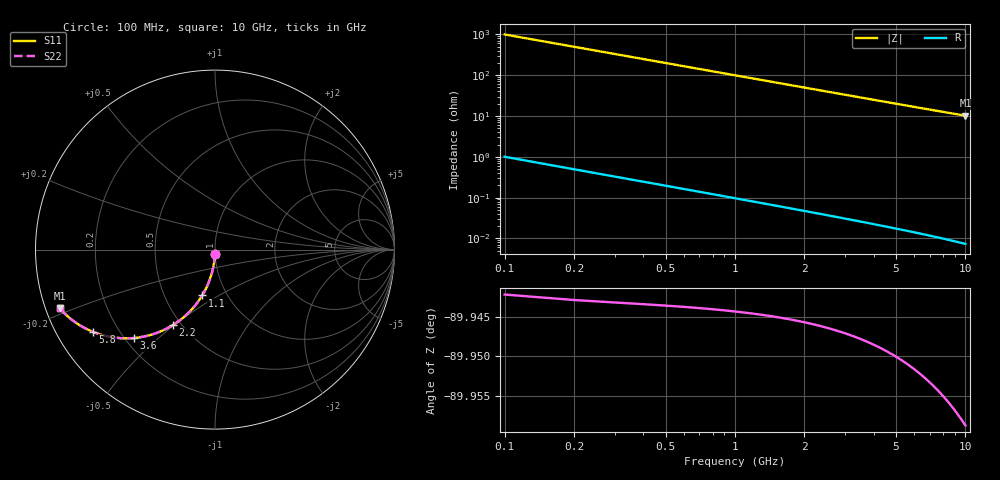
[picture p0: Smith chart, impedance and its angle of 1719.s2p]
# Hz S RI R 50.00
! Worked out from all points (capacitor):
!   100 points, 100 MHz to 10 GHz, reference 50 ohm
!   read as one part in shunt: C = 1.6 pF near 100 MHz
!   lowest |Z| = 10.2 ohm at 10 GHz (marker M1)
!   S11 on the Smith chart (normalised r, x): 100 MHz: 1.00, -0.05; 1.1 GHz: 0.77, -0.42; 2.2 GHz: 0.45, -0.49; 3.6 GHz: 0.24, -0.42; 5.8 GHz: 0.11, -0.30; 10 GHz: 0.04, -0.18
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1e8  -0.000536 -0.025  0.9992 -0.0253  0.9992 -0.0253  -0.000536 -0.025
2e8  -0.00245 -0.0499  0.9973 -0.0505  0.9973 -0.0505  -0.00245 -0.0499
3e8  -0.00562 -0.0747  0.9941 -0.0754  0.9941 -0.0754  -0.00562 -0.0747
4e8  -0.01 -0.0991  0.9897 -0.1001  0.9897 -0.1001  -0.01 -0.0991
5e8  -0.0156 -0.1232  0.9842 -0.1245  0.9842 -0.1245  -0.0156 -0.1232
6e8  -0.0223 -0.1468  0.9774 -0.1483  0.9774 -0.1483  -0.0223 -0.1468
7e8  -0.0301 -0.1699  0.9696 -0.1717  0.9696 -0.1717  -0.0301 -0.1699
9e8  -0.0488 -0.2141  0.9509 -0.2165  0.9509 -0.2165  -0.0488 -0.2141
1.1e9  -0.0713 -0.2555  0.9285 -0.2584  0.9285 -0.2584  -0.0713 -0.2555
1.4e9  -0.1105 -0.3114  0.8892 -0.315  0.8892 -0.315  -0.1105 -0.3114
1.8e9  -0.1704 -0.3732  0.8293 -0.3779  0.8293 -0.3779  -0.1704 -0.3732
2.2e9  -0.2348 -0.4206  0.765 -0.4263  0.765 -0.4263  -0.2348 -0.4206
2.8e9  -0.332 -0.4668  0.6677 -0.4741  0.6677 -0.4741  -0.332 -0.4668
3.4e9  -0.423 -0.4891  0.5767 -0.498  0.5767 -0.498  -0.423 -0.4891
3.6e9  -0.4511 -0.4924  0.5486 -0.5018  0.5486 -0.5018  -0.4511 -0.4924
4.3e9  -0.5398 -0.4923  0.4598 -0.5035  0.4598 -0.5035  -0.5398 -0.4923
5.1e9  -0.6229 -0.4774  0.3767 -0.4908  0.3767 -0.4908  -0.6229 -0.4774
5.8e9  -0.6814 -0.4577  0.3182 -0.4729  0.3182 -0.4729  -0.6814 -0.4577
6.7e9  -0.7408 -0.4287  0.2588 -0.4463  0.2588 -0.4463  -0.7408 -0.4287
7.5e9  -0.782 -0.4023  0.2175 -0.4221  0.2175 -0.4221  -0.782 -0.4023
8.4e9  -0.8185 -0.3736  0.181 -0.3958  0.181 -0.3958  -0.8185 -0.3736
1e10  -0.8652 -0.3274  0.1342 -0.3539  0.1342 -0.3539  -0.8652 -0.3274
